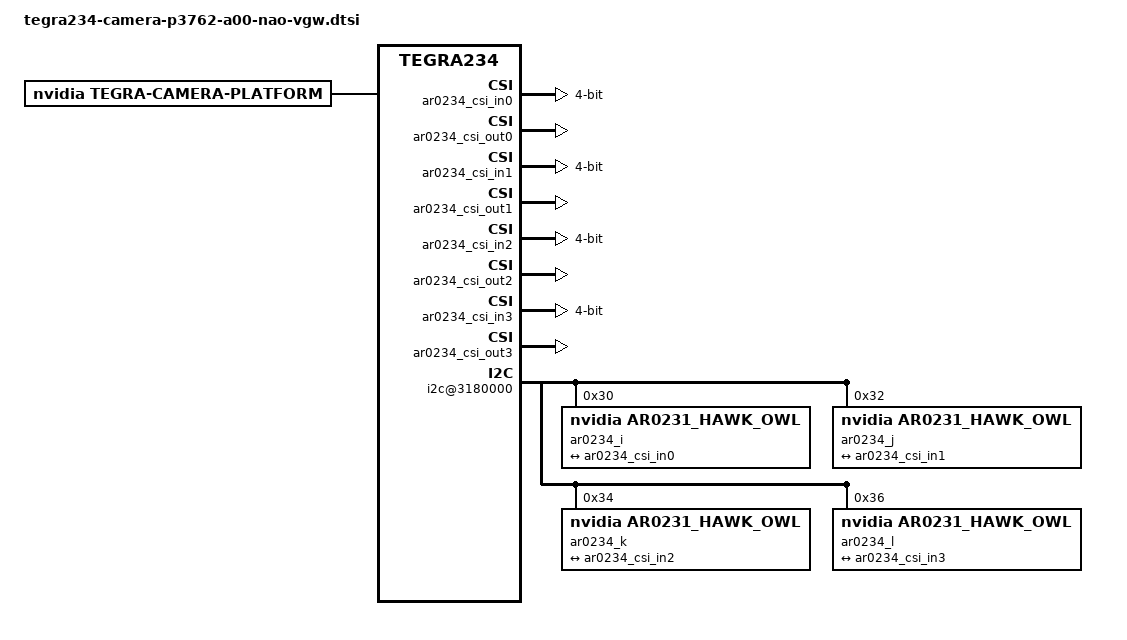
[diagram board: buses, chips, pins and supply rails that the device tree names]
// SPDX-License-Identifier: GPL-2.0-only
// SPDX-FileCopyrightText: Copyright (c) 2023-2024, NVIDIA CORPORATION & AFFILIATES. All rights reserved.

/* 4 camera module with 4 Owls
 * OWL1  - 1 ar0231 camera  - max96724 Aggregator 2 - GMSL2
 * OWL2  - 1 ar0231 camera  - max96724 Aggregator 2 - GMSL2
 * OWL3  - 1 ar0231 camera  - max96724 Aggregator 2 - GMSL2
 * OWL4  - 1 ar0231 camera  - max96724 Aggregator 2 - GMSL2
 */
/ {
	fragment-camera@0 {
		target-path = "/";
		__overlay__ {
			tegra-capture-vi {
				num-channels = <4>;
				ports {
					#address-cells = <1>;
					#size-cells = <0>;
					port@0 {
						reg = <0>;
						status = "okay";
						ar0234_vi_in0: endpoint {
							vc-id = <0>;
							port-index = <2>;
							bus-width = <4>;
							remote-endpoint = <&ar0234_csi_out0>;
							status = "okay";
						};
					};
					port@1 {
						reg = <1>;
						status = "okay";
						ar0234_vi_in1: endpoint {
							vc-id = <1>;
							port-index = <2>;
							bus-width = <4>;
							remote-endpoint = <&ar0234_csi_out1>;
							status = "okay";
						};
					};
					port@2 {
						reg = <2>;
						status = "okay";
						ar0234_vi_in2: endpoint {
							vc-id = <2>;
							port-index = <2>;
							bus-width = <4>;
							remote-endpoint = <&ar0234_csi_out2>;
							status = "okay";
						};
					};
					port@3 {
						reg = <3>;
						status = "okay";
						ar0234_vi_in3: endpoint {
							vc-id = <3>;
							port-index = <2>;
							bus-width = <4>;
							remote-endpoint = <&ar0234_csi_out3>;
							status = "okay";
						};
					};
				};
			};
			bus@0 {
				host1x@13e00000 {
					nvcsi@15a00000 {
						num-channels = <4>;
						#address-cells = <1>;
						#size-cells = <0>;
						channel@0 {
							reg = <0>;
							status = "okay";
							ports {
								#address-cells = <1>;
								#size-cells = <0>;
								port@0 {
									reg = <0>;
									status = "okay";
									ar0234_csi_in0: endpoint@0 {
										port-index = <2>;
										bus-width = <4>;
										remote-endpoint = <&ar0234_ar0234_out0>;
										status = "okay";
									};
								};
								port@1 {
									reg = <1>;
									status = "okay";
									ar0234_csi_out0: endpoint@1 {
										remote-endpoint = <&ar0234_vi_in0>;
										status = "okay";
									};
								};
							};
						};
						channel@1 {
							reg = <1>;
							status = "okay";
							ports {
								#address-cells = <1>;
								#size-cells = <0>;
								port@0 {
									reg = <0>;
									status = "okay";
									ar0234_csi_in1: endpoint@2 {
										port-index = <2>;
										bus-width = <4>;
										remote-endpoint = <&ar0234_ar0234_out1>;
										status = "okay";
									};
								};
								port@1 {
									reg = <1>;
									status = "okay";
									ar0234_csi_out1: endpoint@3 {
										remote-endpoint = <&ar0234_vi_in1>;
										status = "okay";
									};
								};
							};
						};
						channel@2 {
							reg = <2>;
							status = "okay";
							ports {
								#address-cells = <1>;
								#size-cells = <0>;
								port@0 {
									reg = <0>;
									status = "okay";
									ar0234_csi_in2: endpoint@4 {
										port-index = <2>;
										bus-width = <4>;
										remote-endpoint = <&ar0234_ar0234_out2>;
										status = "okay";
									};
								};
								port@1 {
									reg = <1>;
									status = "okay";
									ar0234_csi_out2: endpoint@5 {
										remote-endpoint = <&ar0234_vi_in2>;
										status = "okay";
									};
								};
							};
						};
						channel@3 {
							reg = <3>;
							status = "okay";
							ports {
								#address-cells = <1>;
								#size-cells = <0>;
								port@0 {
									reg = <0>;
									status = "okay";
									ar0234_csi_in3: endpoint@6 {
										port-index = <2>;
										bus-width = <4>;
										remote-endpoint = <&ar0234_ar0234_out3>;
										status = "okay";
									};
								};
								port@1 {
									reg = <1>;
									status = "okay";
									ar0234_csi_out3: endpoint@7 {
										remote-endpoint = <&ar0234_vi_in3>;
										status = "okay";
									};
								};
							};
						};
					};
				};
				i2c@3180000 {
					ar0234_i@30 {
						compatible = "nvidia,ar0231_hawk_owl";
						reg = <0x30>;
						/* Physical dimensions of sensor */
						physical_w = "3.674";
						physical_h = "2.738";
						sync_sensor = "OWL1";
						sync_sensor_index = <1>;
						/* Defines number of frames to be dropped by driver internally after applying */
						/* sensor crop settings. Some sensors send corrupt frames after applying */
						/* crop co-ordinates */
						post_crop_frame_drop = "0";
						/* enable CID_SENSOR_MODE_ID for sensor modes selection */
						use_sensor_mode_id = "true";
						mode0 {/*mode IMX424_MODE_3840X1080_CROP_30FPS*/
							mclk_khz = "27360";
							num_lanes = "4";
							tegra_sinterface = "serial_c";
							phy_mode = "CPHY";
							vc_id = "0";
							discontinuous_clk = "no";
							dpcm_enable = "false";
							cil_settletime = "0";
							dynamic_pixel_bit_depth = "10";
							csi_pixel_bit_depth = "10";
							mode_type = "bayer";
							pixel_phase = "grbg";
							active_w = "3840";
							active_h = "1024";
							readout_orientation = "0";
							line_length = "3840";
							inherent_gain = "1";
							mclk_multiplier = "50";
							pix_clk_hz = "1368000000";
							serdes_pix_clk_hz = "1368000000";
							gain_factor = "1000000";
							min_gain_val = "1000000"; /* dB */
							max_gain_val = "48000000"; /* dB */
							step_gain_val = "1"; /* 0.1 */
							default_gain = "1000000";
							min_hdr_ratio = "1";
							max_hdr_ratio = "1";
							framerate_factor = "1000000";
							min_framerate = "28700000";
							max_framerate = "28700000";
							step_framerate = "1000000";
							default_framerate = "28700000";
							exposure_factor = "1000000";
							min_exp_time = "110"; /*us, 2 lines*/
							max_exp_time = "166577";
							step_exp_time = "1";
							default_exp_time = "16657";/* us */
							embedded_metadata_height = "0";
						};
						ports {
							#address-cells = <1>;
							#size-cells = <0>;
							port@0 {
								reg = <0>;
								ar0234_ar0234_out0: endpoint {
									vc-id = <0>;
									port-index = <2>;
									bus-width = <4>;
									remote-endpoint = <&ar0234_csi_in0>;
								};
							};
						};
					};
					ar0234_j@32 {
						compatible = "nvidia,ar0231_hawk_owl";
						reg = <0x32>;
						/* Physical dimensions of sensor */
						physical_w = "3.674";
						physical_h = "2.738";
						sensor_model ="ar0234";
						sync_sensor = "OWL2";
						sync_sensor_index = <1>;
						/* Defines number of frames to be dropped by driver internally after applying */
						/* sensor crop settings. Some sensors send corrupt frames after applying */
						/* crop co-ordinates */
						post_crop_frame_drop = "0";
						/* enable CID_SENSOR_MODE_ID for sensor modes selection */
						use_sensor_mode_id = "true";
						mode0 {/*mode IMX424_MODE_3840X1080_CROP_30FPS*/
							mclk_khz = "27360";
							num_lanes = "4";
							tegra_sinterface = "serial_c";
							phy_mode = "CPHY";
							vc_id = "1";
							discontinuous_clk = "no";
							dpcm_enable = "false";
							cil_settletime = "0";
							dynamic_pixel_bit_depth = "10";
							csi_pixel_bit_depth = "10";
							mode_type = "bayer";
							pixel_phase = "grbg";
							active_w = "3840";
							active_h = "1024";
							readout_orientation = "0";
							line_length = "3840";
							inherent_gain = "1";
							mclk_multiplier = "50";
							pix_clk_hz = "1368000000";
							serdes_pix_clk_hz = "1368000000";
							gain_factor = "1000000";
							min_gain_val = "1000000"; /* dB */
							max_gain_val = "48000000"; /* dB */
							step_gain_val = "1"; /* 0.1 */
							default_gain = "1000000";
							min_hdr_ratio = "1";
							max_hdr_ratio = "1";
							framerate_factor = "1000000";
							min_framerate = "28700000";
							max_framerate = "28700000";
							step_framerate = "1000000";
							default_framerate = "28700000";
							exposure_factor = "1000000";
							min_exp_time = "110"; /*us, 2 lines*/
							max_exp_time = "166577";
							step_exp_time = "1";
							default_exp_time = "16657";/* us */
							embedded_metadata_height = "0";
						};
						ports {
							#address-cells = <1>;
							#size-cells = <0>;
							port@0 {
								reg = <0>;
								ar0234_ar0234_out1: endpoint {
									vc-id = <1>;
									port-index = <2>;
									bus-width = <4>;
									remote-endpoint = <&ar0234_csi_in1>;
								};
							};
						};
					};
					ar0234_k@34 {
						compatible = "nvidia,ar0231_hawk_owl";
						reg = <0x34>;
						/* Physical dimensions of sensor */
						physical_w = "3.674";
						physical_h = "2.738";
						sensor_model ="ar0234";
						sync_sensor = "OWL3";
						sync_sensor_index = <1>;
						/* Defines number of frames to be dropped by driver internally after applying */
						/* sensor crop settings. Some sensors send corrupt frames after applying */
						/* crop co-ordinates */
						post_crop_frame_drop = "0";
						/* enable CID_SENSOR_MODE_ID for sensor modes selection */
						use_sensor_mode_id = "true";
						mode0 {/*mode IMX424_MODE_3840X1080_CROP_30FPS*/
							mclk_khz = "27360";
							num_lanes = "4";
							tegra_sinterface = "serial_c";
							phy_mode = "CPHY";
							vc_id = "2";
							discontinuous_clk = "no";
							dpcm_enable = "false";
							cil_settletime = "0";
							dynamic_pixel_bit_depth = "10";
							csi_pixel_bit_depth = "10";
							mode_type = "bayer";
							pixel_phase = "grbg";
							active_w = "3840";
							active_h = "1024";
							readout_orientation = "0";
							line_length = "3840";
							inherent_gain = "1";
							mclk_multiplier = "50";
							pix_clk_hz = "1368000000";
							serdes_pix_clk_hz = "1368000000";
							gain_factor = "1000000";
							min_gain_val = "1000000"; /* dB */
							max_gain_val = "48000000"; /* dB */
							step_gain_val = "1"; /* 0.1 */
							default_gain = "1000000";
							min_hdr_ratio = "1";
							max_hdr_ratio = "1";
							framerate_factor = "1000000";
							min_framerate = "28700000";
							max_framerate = "28700000";
							step_framerate = "1000000";
							default_framerate = "28700000";
							exposure_factor = "1000000";
							min_exp_time = "110"; /*us, 2 lines*/
							max_exp_time = "166577";
							step_exp_time = "1";
							default_exp_time = "16657";/* us */
							embedded_metadata_height = "0";
						};
						ports {
							#address-cells = <1>;
							#size-cells = <0>;
							port@0 {
								reg = <0>;
								ar0234_ar0234_out2: endpoint {
									vc-id = <2>;
									port-index = <2>;
									bus-width = <4>;
									remote-endpoint = <&ar0234_csi_in2>;
								};
							};
						};
					};
					ar0234_l@36 {
						compatible = "nvidia,ar0231_hawk_owl";
						reg = <0x36>;
						/* Physical dimensions of sensor */
						physical_w = "3.674";
						physical_h = "2.738";
						sensor_model ="ar0234";
						sync_sensor = "OWL4";
						sync_sensor_index = <1>;
						/* Defines number of frames to be dropped by driver internally after applying */
						/* sensor crop settings. Some sensors send corrupt frames after applying */
						/* crop co-ordinates */
						post_crop_frame_drop = "0";
						/* enable CID_SENSOR_MODE_ID for sensor modes selection */
						use_sensor_mode_id = "true";
						mode0 {/*mode IMX424_MODE_3840X1080_CROP_30FPS*/
							mclk_khz = "27360";
							num_lanes = "4";
							tegra_sinterface = "serial_c";
							phy_mode = "CPHY";
							vc_id = "3";
							discontinuous_clk = "no";
							dpcm_enable = "false";
							cil_settletime = "0";
							dynamic_pixel_bit_depth = "10";
							csi_pixel_bit_depth = "10";
							mode_type = "bayer";
							pixel_phase = "grbg";
							active_w = "3840";
							active_h = "1024";
							readout_orientation = "0";
							line_length = "3840";
							inherent_gain = "1";
							mclk_multiplier = "50";
							pix_clk_hz = "1368000000";
							serdes_pix_clk_hz = "1368000000";
							gain_factor = "1000000";
							min_gain_val = "1000000"; /* dB */
							max_gain_val = "48000000"; /* dB */
							step_gain_val = "1"; /* 0.1 */
							default_gain = "1000000";
							min_hdr_ratio = "1";
							max_hdr_ratio = "1";
							framerate_factor = "1000000";
							min_framerate = "28700000";
							max_framerate = "28700000";
							step_framerate = "1000000";
							default_framerate = "28700000";
							exposure_factor = "1000000";
							min_exp_time = "110"; /*us, 2 lines*/
							max_exp_time = "166577";
							step_exp_time = "1";
							default_exp_time = "16657";/* us */
							embedded_metadata_height = "0";
						};
						ports {
							#address-cells = <1>;
							#size-cells = <0>;
							port@0 {
								reg = <0>;
								ar0234_ar0234_out3: endpoint {
									vc-id = <3>;
									port-index = <2>;
									bus-width = <4>;
									remote-endpoint = <&ar0234_csi_in3>;
								};
							};
						};
					};
				};
			};
			tegra-camera-platform {
				compatible = "nvidia, tegra-camera-platform";
				/**
				 * Physical settings to calculate max ISO BW
				 *
				 * num_csi_lanes = <>;
				 * Total number of CSI lanes when all cameras are active
				 *
				 * max_lane_speed = <>;
				 * Max lane speed in Kbit/s
				 *
				 * min_bits_per_pixel = <>;
				 * Min bits per pixel
				 *
				 * vi_peak_byte_per_pixel = <>;
				 * Max byte per pixel for the VI ISO case
				 *
				 * vi_bw_margin_pct = <>;
				 * Vi bandwidth margin in percentage
				 *
				 * max_pixel_rate = <>;
				 * Max pixel rate in Kpixel/s for the ISP ISO case
				 *
				 * isp_peak_byte_per_pixel = <>;
				 * Max byte per pixel for the ISP ISO case
				 *
				 * isp_bw_margin_pct = <>;
				 * Isp bandwidth margin in percentage
				 */
				num_csi_lanes = <4>;
				max_lane_speed = <15000000>;
				min_bits_per_pixel = <10>;
				vi_peak_byte_per_pixel = <2>;
				vi_bw_margin_pct = <25>;
				isp_peak_byte_per_pixel = <5>;
				isp_bw_margin_pct = <25>;
				/**
				 * The general guideline for naming badge_info contains 3 parts, and is as follows,
				 * The first part is the camera_board_id for the module; if the module is in a FFD
				 * platform, then use the platform name for this part.
				 * The second part contains the position of the module, ex. "rear" or "front".
				 * The third part contains the last 6 characters of a part number which is found
				 * in the module's specsheet from the vender.
				 */
				modules {
					module0 {
						badge = "ar0234_bottomleft_NOVA0";
						position = "bottomleft";
						orientation = "1";
						status = "okay";
						drivernode0 {
							/* Declare PCL support driver (classically known as guid)  */
							pcl_id = "v4l2_sensor";
							/* Declare the device-tree hierarchy to driver instance */
							sysfs-device-tree = "/sys/firmware/devicetree/base/bus@0/i2c@3180000/ar0234_i@30";
							status = "okay";
						};
					};
					module1 {
						badge = "ar0234_centerleft_NOVA0";
						position = "centerleft";
						orientation = "1";
						status = "okay";
						drivernode0 {
							/* Declare PCL support driver (classically known as guid)  */
							pcl_id = "v4l2_sensor";
							/* Declare the device-tree hierarchy to driver instance */
							sysfs-device-tree = "/sys/firmware/devicetree/base/bus@0/i2c@3180000/ar0234_j@32";
							status = "okay";
						};
					};
					module2 {
						badge = "ar0234_centerright_NOVA0";
						position = "centerright";
						orientation = "1";
						status = "okay";
						drivernode0 {
							pcl_id = "v4l2_sensor";
							sysfs-device-tree = "/sys/firmware/devicetree/base/bus@0/i2c@3180000/ar0234_k@34";
							status = "okay";
						};
					};
					module3 {
						badge = "ar0234_topleft_NOVA0";
						position = "topleft";
						orientation = "1";
						status = "okay";
						drivernode0 {
							pcl_id = "v4l2_sensor";
							sysfs-device-tree = "/sys/firmware/devicetree/base/bus@0/i2c@3180000/ar0234_l@36";
							status = "okay";
						};
					};
				};
			};
		};
	};
};
